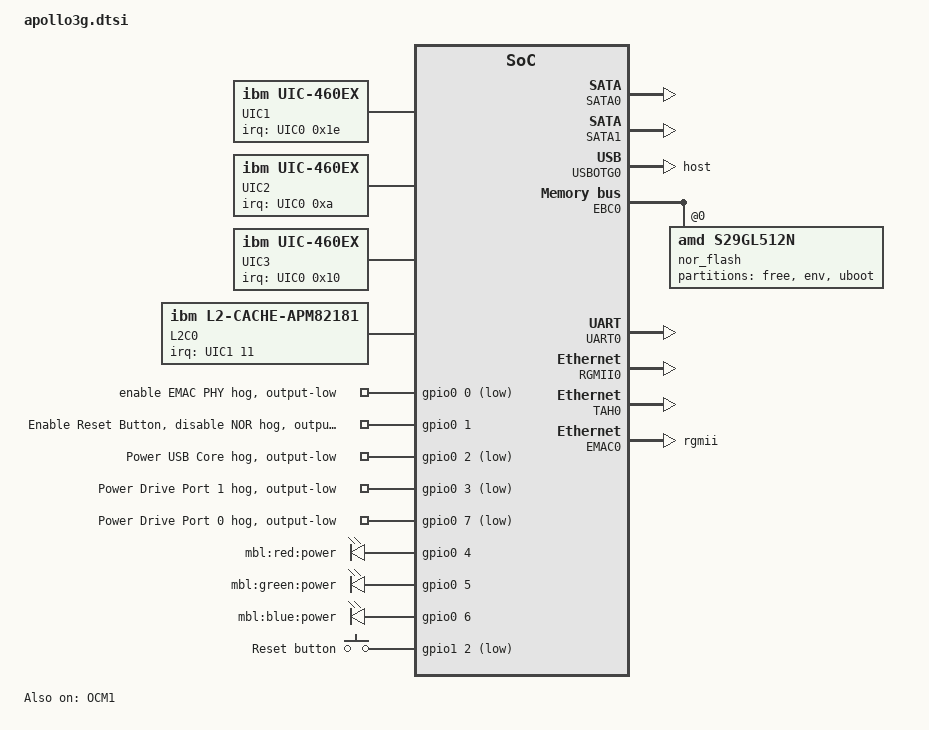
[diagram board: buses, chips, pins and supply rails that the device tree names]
/*
 * Copyright 2008 DENX Software Engineering, Stefan Roese <sr@denx.de>
 * (c) Copyright 2010 Western Digital Technologies, Inc. All Rights Reserved.
 *
 * This file is licensed under the terms of the GNU General Public
 * License version 2.  This program is licensed "as is" without
 * any warranty of any kind, whether express or implied.
 */

/ {
	#address-cells = <2>;
	#size-cells = <1>;
	compatible = "amcc,apollo3g";
	dcr-parent = <&{/cpus/cpu@0}>;

	aliases {
		ethernet0 = &EMAC0;
		serial0 = &UART0;
	};

	cpus {
		#address-cells = <1>;
		#size-cells = <0>;

		cpu@0 {
			device_type = "cpu";
			model = "PowerPC,apm82181";
			reg = <0x00000000>;
			clock-frequency = <0>; /* Filled in by U-Boot */
			timebase-frequency = <0>; /* Filled in by U-Boot */
			i-cache-line-size = <32>;
			d-cache-line-size = <32>;
			i-cache-size = <32768>;
			d-cache-size = <32768>;
			dcr-controller;
			dcr-access-method = "native";
			next-level-cache = <&L2C0>;
		};
	};

	memory {
		device_type = "memory";
		reg = <0x00000000 0x00000000 0x00000000>; /* Filled in by U-Boot */
	};

	UIC0: interrupt-controller0 {
		compatible = "ibm,uic-460ex","ibm,uic";
		interrupt-controller;
		cell-index = <0>;
		dcr-reg = <0x0c0 0x009>;
		#address-cells = <0>;
		#size-cells = <0>;
		#interrupt-cells = <2>;
	};

	UIC1: interrupt-controller1 {
		compatible = "ibm,uic-460ex","ibm,uic";
		interrupt-controller;
		cell-index = <1>;
		dcr-reg = <0x0d0 0x009>;
		#address-cells = <0>;
		#size-cells = <0>;
		#interrupt-cells = <2>;
		interrupts = <0x1e 0x4 0x1f 0x4>; /* cascade */
		interrupt-parent = <&UIC0>;
	};

	UIC2: interrupt-controller2 {
		compatible = "ibm,uic-460ex","ibm,uic";
		interrupt-controller;
		cell-index = <2>;
		dcr-reg = <0x0e0 0x009>;
		#address-cells = <0>;
		#size-cells = <0>;
		#interrupt-cells = <2>;
		interrupts = <0xa 0x4 0xb 0x4>; /* cascade */
		interrupt-parent = <&UIC0>;
	};

	UIC3: interrupt-controller3 {
		compatible = "ibm,uic-460ex","ibm,uic";
		interrupt-controller;
		cell-index = <3>;
		dcr-reg = <0x0f0 0x009>;
		#address-cells = <0>;
		#size-cells = <0>;
		#interrupt-cells = <2>;
		interrupts = <0x10 0x4 0x11 0x4>; /* cascade */
		interrupt-parent = <&UIC0>;
	};

	OCM1: ocm@400040000 {
		compatible = "ibm,ocm";
		status = "okay";
		cell-index = <1>;
		/* configured in U-Boot */
		reg = <4 0x00040000 0x8000>; /* 32K */
	};

	SDR0: sdr {
		compatible = "ibm,sdr-460ex";
		dcr-reg = <0x00e 0x002>;
	};

	CPR0: cpr {
		compatible = "ibm,cpr-460ex";
		dcr-reg = <0x00c 0x002>;
	};

	CPM0: cpm {
		compatible = "ibm,cpm";
		dcr-access-method = "native";
		dcr-reg = <0x160 0x003>;
		unused-units = <0x00000100>;
		idle-doze = <0x02000000>;
		standby = <0xfeff791d>;
	};

	L2C0: l2c {
		compatible = "ibm,l2-cache-apm82181", "ibm,l2-cache";
		dcr-reg = <0x020 0x008
			   0x030 0x008>;
		cache-line-size = <32>;
		cache-size = <262144>;
		interrupt-parent = <&UIC1>;
		interrupts = <11 1>;
	};

	plb {
		compatible = "ibm,plb-460ex", "ibm,plb4";
		#address-cells = <2>;
		#size-cells = <1>;
		ranges;
		clock-frequency = <0>; /* Filled in by U-Boot */

		SDRAM0: sdram {
			compatible = "ibm,sdram-460ex", "ibm,sdram-405gp";
			dcr-reg = <0x010 0x002>;
		};

		CRYPTO: crypto@180000 {
			compatible = "amcc,ppc460ex-crypto", "amcc,ppc4xx-crypto";
			reg = <4 0x00180000 0x80400>;
			interrupt-parent = <&UIC0>;
			interrupts = <0x1d 0x4>;
		};

		PKA: pka@114000 {
			device_type = "pka";
			compatible = "ppc4xx-pka", "amcc,ppc4xx-pka";
			reg = <0 0x00114000 0x4000>;
			interrupt-parent = <&UIC0>;
			interrupts = <0x14 0x2>;
		};

		HWRNG: trng@110000 {
			compatible = "amcc,ppc460ex-rng", "ppc4xx-rng";
			reg = <4 0x00110000 0x50>;
		};

		MAL0: mcmal {
			compatible = "ibm,mcmal-460ex", "ibm,mcmal2";
			descriptor-memory = "ocm";
			dcr-reg = <0x180 0x062>;
			num-tx-chans = <1>;
			num-rx-chans = <1>;
			#address-cells = <0>;
			#size-cells = <0>;
			interrupt-parent = <&UIC2>;
			interrupts = <	/*TXEOB*/	0x6 0x4
					/*RXEOB*/	0x7 0x4
					/*SERR*/	0x3 0x4
					/*TXDE*/	0x4 0x4
					/*RXDE*/	0x5 0x4
					/*TX0 COAL*/	0x8 0x2
					/*TX1 COAL 0x9 0x2*/
					/*RX0 COAL*/	0xc 0x2
					/*RX1 COAL 0xd 0x2*/ >;
		};

		AHBDMA: dma@bffd0800 {
			compatible = "snps,dma-spear1340";
			reg = <4 0xbffd0800 0x400>;
			interrupt-parent = <&UIC0>;
			interrupts = <25 4>;
			#dma-cells = <3>;
			/* use autoconfiguration for the dma setup */
		};

		SATA0: sata@bffd1000 {
			compatible = "amcc,sata-460ex";
			reg = <4 0xbffd1000 0x800>;
			interrupt-parent = <&UIC0>;
			interrupts = <26 4>;
			dmas = <&AHBDMA 0 0 1>;
			dma-names = "sata-dma";
		};

		SATA1: sata@bffd1800 {
			compatible = "amcc,sata-460ex";
			reg = <4 0xbffd1800 0x800>;
			interrupt-parent = <&UIC0>;
			interrupts = <27 4>;
			dmas = <&AHBDMA 1 0 2>;
			dma-names = "sata-dma";
		};


		USBOTG0: usbotg@bff80000 {
			compatible = "snps,dwc2";
			reg = <4 0xbff80000 0x10000>;
			interrupt-parent = <&USBOTG0>;
			interrupts = <0 1 2>;
			#interrupt-cells = <1>;
			#address-cells = <0>;
			#size-cells = <0>;
			interrupt-map = </* USB-OTG */ 0 &UIC2 0x1c 4
					 /* HIGH-POWER */ 1 &UIC1 0x1a 8
					 /* DMA */ 2 &UIC0 0xc 4>;
			dr_mode = "host";
		};

		POB0: opb {
			compatible = "ibm,opb-460ex", "ibm,opb";
			#address-cells = <1>;
			#size-cells = <1>;
			ranges = <0xb0000000 0x4 0xb0000000 0x50000000>;
			clock-frequency = <0>; /* Filled in by U-Boot */

			EBC0: ebc {
				compatible = "ibm,ebc-460ex", "ibm,ebc";
				dcr-reg = <0x012 0x002>;
				#address-cells = <2>;
				#size-cells = <1>;
				clock-frequency = <0>; /* Filled in by U-Boot */
				interrupts = <0x6 0x4>;
				interrupt-parent = <&UIC1>;
				/* ranges property are supplied by U-Boot */
				ranges = <0x0 0x0 0xfff80000 0x00080000
					  0x1 0x0 0x00000000 0x00000000
					  0x2 0x0 0x00000000 0x00000000>;

				/* Define device tree for Apollo3g NAS NOR flash
				 * The NOR doesn't work when "enable-button" GPIO
				 * is asserted.
				 */
				nor_flash@0,0 {
					compatible = "amd,s29gl512n", "jedec-probe", "cfi-flash", "mtd-rom";
					bank-width = <1>;
					reg = <0x00000000 0x00000000 0x00080000>;
					#address-cells = <1>;
					#size-cells = <1>;

					partition@0 {
						/* Part of bootrom - Don't use it without a jump */
						label = "free";
						reg = <0x00000000 0x0001e000>;
					};
					partition@1 {
						label = "env";
						reg = <0x0001e000 0x00002000>;
					};
					partition@2 {
						label = "uboot";
						reg = <0x00020000 0x00050000>;
					};

				};

				ndfc@1,0 {
					compatible = "ibm,ndfc";
					reg = <0x00000001 0x00000000 0x00002000>;
					ccr = <0x00001000>;
					bank-settings = <0x80002222>;
					#address-cells = <1>;
					#size-cells = <1>;
					status = "disabled";

					nand {
						#address-cells = <1>;
						#size-cells = <1>;
					};
				};
			};

			gpio0: gpio0@e0000000 {
				compatible = "wd,mbl-gpio", "ti,74273";
				reg-names = "dat";
				reg = <0xe0000000 0x1>;
				#gpio-cells = <2>;
				gpio-controller;

				enable-phy {
					/* toggle to reset EMAC PHY */
					gpio-hog;
					line-name = "enable EMAC PHY";
					gpios = <0 1>;
					output-low;
				};

				enable-button {
					/* Defined in u-boot as: NOT_NOR
					 * "enables features other than NOR
					 * specifically, the buffer at CS2"
					 * (button).
					 *
					 * Note: This option is disabled as
					 * it prevents the system from being
					 * rebooted successfully.
					 */

					gpio-hog;
					line-name = "Enable Reset Button, disable NOR";
					gpios = <1 0>;
					output-low;
				};

				enable-usb {
					gpio-hog;
					line-name = "Power USB Core";
					gpios = <2 1>;
					output-low;
				};

				enable-port1 {
					gpio-hog;
					line-name = "Power Drive Port 1";
					gpios = <3 1>;
					output-low;
				};

				enable-port0 {
					gpio-hog;
					line-name = "Power Drive Port 0";
					gpios = <7 1>;
					output-low;
				};
			};

			gpio1: gpio1@e0100000 {
				compatible = "wd,mbl-gpio", "ti,74244";
				reg-names = "dat";
				reg = <0xe0100000 0x1>;
				#gpio-cells = <2>;
				gpio-controller;
				no-output;
			};

			UART0: serial@ef600300 {
				device_type = "serial";
				compatible = "ns16550";
				reg = <0xef600300 0x00000008>;
				virtual-reg = <0xef600300>;
				clock-frequency = <0>; /* Filled in by U-Boot */
				current-speed = <0>; /* Filled in by U-Boot */
				interrupt-parent = <&UIC1>;
				interrupts = <0x1 0x4>;
			};

			gpio-leds {
				compatible = "gpio-leds";
				power-red {
					label = "mbl:red:power";
					gpios = <&gpio0 4 0>;
					linux,default-trigger = "panic";
				};
				power-green {
					label = "mbl:green:power";
					gpios = <&gpio0 5 0>;
					linux,default-trigger = "default-on";
				};
				power-blue {
					label = "mbl:blue:power";
					gpios = <&gpio0 6 0>;
					linux,default-trigger = "cpu0";
				};
			};

			gpio_keys_polled {
				compatible = "gpio-keys-polled";
				#address-cells = <1>;
				#size-cells = <0>;
				poll-interval = <60>;	/* 3 * 20 = 60ms */
				autorepeat;
				button@1 {
					label = "Reset button";
					linux,code = <0x198>; /* KEY_RESTART */
					gpios = <&gpio1 2 1>;
				};
			};

			RGMII0: emac-rgmii@ef601500 {
				compatible = "ibm,rgmii-405ex", "ibm,rgmii";
				reg = <0xef601500 0x00000008>;
				has-mdio;
			};

			TAH0: emac-tah@ef601350 {
				compatible = "ibm,tah-460ex", "ibm,tah";
				reg = <0xef601350 0x00000030>;
			};

			EMAC0: ethernet@ef600c00 {
				device_type = "network";
				compatible = "ibm,emac-405ex", "ibm,emac4sync";
				interrupt-parent = <&EMAC0>;
				interrupts = <0x0 0x1>;
				#interrupt-cells = <1>;
				#address-cells = <0>;
				#size-cells = <0>;
				interrupt-map = </*Status*/ 0x0 &UIC2 0x10 0x4
						 /*Wake*/   0x1 &UIC2 0x14 0x4>;
				reg = <0xef600c00 0x000000c4>;
				local-mac-address = [000000000000]; /* Filled in by U-Boot */
				mal-device = <&MAL0>;
				mal-tx-channel = <0>;
				mal-rx-channel = <0>;
				cell-index = <0>;
				max-frame-size = <9000>;
				rx-fifo-size = <16384>;
				tx-fifo-size = <2048>;
				phy-mode = "rgmii";
				phy-map = <0x00000000>;
				rgmii-device = <&RGMII0>;
				rgmii-channel = <0>;
				tah-device = <&TAH0>;
				tah-channel = <0>;
				has-inverted-stacr-oc;
				has-new-stacr-staopc;
			};
		};

		ADMA: adma {
			compatible = "amcc,apm82181-adma";
			device_type = "dma";
			#address-cells = <2>;
			#size-cells = <1>;

			dma-4channel@1 {
				compatible = "amcc,apm82181-dma-4channel";
				cell-index = <1>;
				label = "plb_dma1";
				interrupt-parent = <&UIC0>;
				interrupts = <0xd 0x4>;
				pool_size = <0x4000>;
				dcr-reg = <0x208 0x20f>;
			};

			dma-4channel@2 {
				compatible = "amcc,apm82181-dma-4channel";
				cell-index = <2>;
				label = "plb_dma2";
				interrupt-parent = <&UIC0>;
				interrupts = <0xe 0x4>;
				pool_size = <0x4000>;
				dcr-reg = <0x210 0x217>;
			};

			dma-4channel@3 {
				compatible = "amcc,apm82181-dma-4channel";
				cell-index = <3>;
				label = "plb_dma3";
				interrupt-parent = <&UIC0>;
				interrupts = <0xf 0x4>;
				pool_size = <0x4000>;
				dcr-reg = <0x218 0x21f>;
			};
		};

		DMA: plb_dma@400300200 {
			#address-cells = <1>;
			#size-cells = <1>;
			compatible = "amcc,dma";
			cell-index = <0>;
			reg = <4 00300200 200>;
			dcr-reg = <0x100 0x13f>;
			interrupt-parent = <&UIC0>;
			interrupts = <0>;
			interrupt-map = < /* chan0 */ 0 &UIC0 12 4>;

			dma-4channel@0{
				compatible = "amcc,dma-4channel";
				cell-index = <0>;
				label = "channel0";
				reg = <0x100 0x107>;
			};
		};
	};
};
